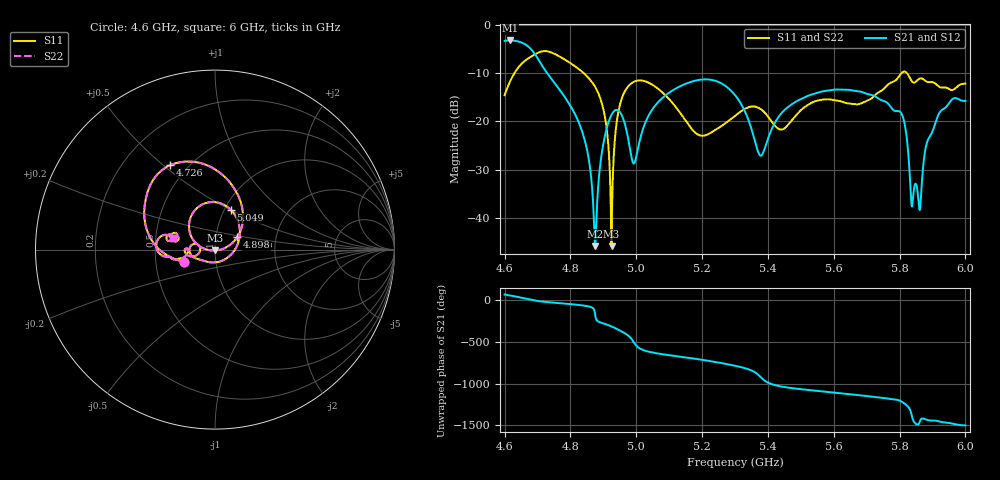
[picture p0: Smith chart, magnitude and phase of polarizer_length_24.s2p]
! TOUCHSTONE file generated by CST MICROWAVE STUDIO
! Date and time: Sun Dec  1 17:17:04 2024
! Project name: test_tuning.cst
! Parameters = {airCoaxOuterDiameter=3; chamferAngle=45; chamferWidth=24; connectorLength=10; drillingHoleDiameter=4.1; feedLength=60; flareDiameter=130; flareLength=70; gratingDistance=0; gratingGap=1.90274; outletLength=30; polarizerLength=110; probe1Diameter=1.3; probe1Distance=14; probe1Length=1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
! Header version: 2024
! Port assignment regex: !\s*Touchstone port\s*([0-9]+)\s*=\s*(CST MWS port|CST DES external port|CST DES block port)\s*(.+)\s* \(\"(.*)\"\)(\s*mode\s*([0-9]+))?.*
! Touchstone port assignment:
! Touchstone port 1 = CST MWS port 1 ("Input1")
! Touchstone port 2 = CST MWS port 2 ("Input2")
# GHz S MA R 50
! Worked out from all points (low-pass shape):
!   1001 points, 4.6 GHz to 6 GHz, reference 50 ohm
!   highest |S21| = -3.27 dB at 4.617 GHz (marker M1); lowest = -45.7 dB at 4.874 GHz (marker M2)
!   |S21| within 3 dB of the highest: start of sweep to 4.694 GHz
!   lowest |S11| = -45.8 dB at 4.925 GHz (marker M3), VSWR 1.01, Z = 49.9 - j0.5 ohm
!   |S11| at or under -10 dB: start of sweep to 4.63 GHz; 4.84 GHz to 5.806 GHz (965.9 MHz wide, 18.1 % of centre); 5.822 GHz to end of sweep
!   |S22| runs from -45.8 to -5.5 dB; largest |S21 - S12| = 7e-07
!   S11 on the Smith chart (normalised r, x): 4.6 GHz: 0.70, -0.10; 4.726 GHz: 0.40, +0.53; 4.898 GHz: 1.27, +0.18; 5.049 GHz: 1.07, +0.50; 6 GHz: 0.61, +0.09
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4.6  0.1865 -158.9  0.6797 62.8  0.6797 62.8  0.1865 -158.9
4.6168  0.2594 -171.7  0.6864 51.4  0.6864 51.4  0.2594 -171.7
4.726  0.5324 117.9  0.327 -25.7  0.327 -25.7  0.5324 117.9
4.8338  0.3301 67.3  0.08181 -65.6  0.08181 -65.6  0.3301 67.3
4.8744  0.2294 47.1  0.005176 -158.4  0.005176 -158.4  0.2294 47.1
4.8982  0.1421 29.2  0.05436 80.6  0.05436 80.6  0.1421 29.2
4.9248  0.005143 -103.0  0.1171 42.2  0.1171 42.2  0.005143 -103.0
4.9598  0.187 140.6  0.1079 -27.0  0.1079 -27.0  0.187 140.6
4.9934  0.2576 109.3  0.03685 -152.3  0.03685 -152.3  0.2576 109.3
5.0494  0.2388 68.4  0.134 90.6  0.134 90.6  0.2388 68.4
5.0676  0.2159 56.7  0.1598 77.6  0.1598 77.6  0.2159 56.7
5.1922  0.07195 -66.9  0.2692 8.3  0.2692 8.3  0.07195 -66.9
5.3  0.1142 -153.4  0.1874 -67.4  0.1874 -67.4  0.1142 -153.4
5.3784  0.1338 169.4  0.04427 155.4  0.04427 155.4  0.1338 169.4
5.4414  0.08235 -179.8  0.1221 44.1  0.1221 44.1  0.08236 -179.8
5.5338  0.1566 -168.5  0.1901 -1.3  0.1901 -1.3  0.1566 -168.5
5.7676  0.2446 -168.0  0.1496 -101.5  0.1496 -101.5  0.2446 -168.0
5.8096  0.324 179.6  0.1127 -144.1  0.1127 -144.1  0.324 179.6
5.8362  0.2637 163.4  0.01374 72.8  0.01374 72.8  0.2637 163.4
5.86  0.2763 167.6  0.01251 -29.9  0.01251 -29.9  0.2763 167.6
5.9174  0.232 157.4  0.116 -9.6  0.116 -9.6  0.232 157.4
6  0.2457 164.3  0.1624 -60.5  0.1624 -60.5  0.2457 164.3
